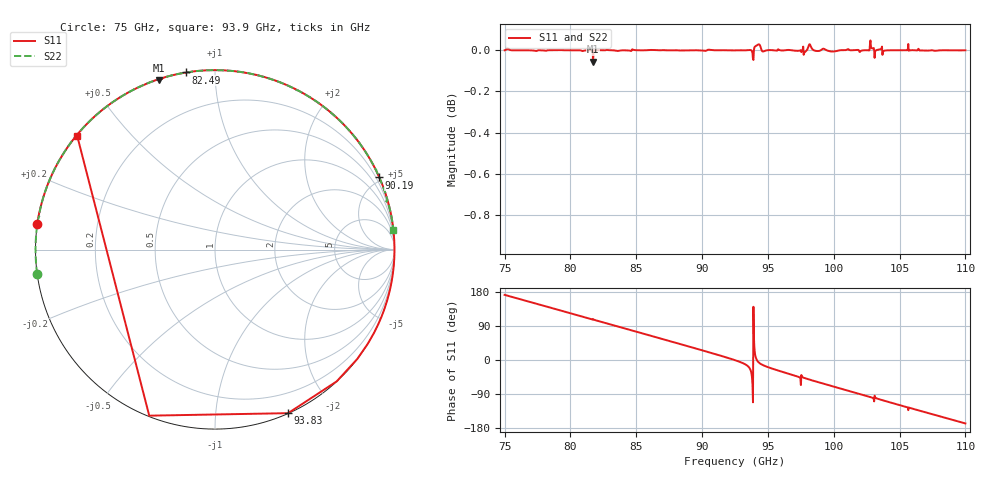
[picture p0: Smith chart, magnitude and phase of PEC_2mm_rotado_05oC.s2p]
! TOUCHSTONE file generated by CST MICROWAVE STUDIO
! Date and time: Wed Feb 14 15:11:36 2024
! Project name: metal_rotado.cst
! Parameters = {angY=0.5}
! Header version: 2018
! Port assignment regex: !\s*Touchstone port\s*([0-9]+)\s*=\s*(CST MWS port|CST DS port)\s*([0-9]+|Zmin|Zmax)\s*\(\"(.*)\"\)(\s*mode\s*([0-9]+))?.*
! Touchstone port assignment:
! Touchstone port 1 = CST MWS port 1 ("")
! Touchstone port 2 = CST MWS port 2 ("")
# GHz S MA R 376.7
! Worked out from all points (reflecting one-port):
!   1001 points, 75 GHz to 110 GHz, reference 376.7 ohm
!   lowest |S11| = -0.1 dB at 81.72 GHz (marker M1), VSWR 309.66, Z = 1.85 + j273 ohm
!   phase of S11 starts at 172 deg and turns -699 deg over the sweep
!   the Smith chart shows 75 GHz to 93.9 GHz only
!   S11 on the Smith chart (normalised r, x): 75 GHz: 0.00, +0.07; 82.49 GHz: -0.00, +0.85; 90.19 GHz: 0.00, +4.76; 93.83 GHz: 0.00, -1.54; 93.9 GHz: 0.00, +0.36
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75  1 171.9  0 0.0  0 0.0  1 -172.3
80.845  0.9998 115.2  3.396e-65 -179.9  3.396e-65 -179.9  1 132.3
81.72  0.9936 108.2  3.297e-65 -179.9  3.297e-65 -179.9  1 124.0
82.49  1 99.2  3.098e-65 -179.9  3.098e-65 -179.9  1 116.5
86.69  1 58.3  2.202e-65 -179.9  2.202e-65 -179.9  1 76.7
90.19  0.9997 23.7  1.603e-65 -179.9  1.603e-65 -179.9  1 43.1
92.5  1 -0.4  0 0.0  0 0.0  1 20.7
93.48  1 -16.3  9.017e-66 180.0  9.017e-66 180.0  1 10.8
93.69  1 -27.5  8.014e-66 180.0  8.014e-66 180.0  1 8.7
93.83  0.9982 -65.9  7.009e-66 180.0  7.009e-66 180.0  1 7.2
93.9  0.9946 140.5  0 0.0  0 0.0  1 6.3
94.075  1.002 7.0  6.011e-66 -180.0  6.011e-66 -180.0  0.9993 4.9
94.18  1.003 -1.3  6.012e-66 -180.0  6.012e-66 -180.0  1.001 3.7
95.37  1 -23.3  3.005e-66 180.0  3.005e-66 180.0  0.9999 -12.7
95.72  0.9999 -27.2  2.003e-66 179.9  2.003e-66 179.9  0.9989 -27.7
95.79  1.001 -28.0  2.003e-66 179.9  2.003e-66 179.9  0.998 -37.2
95.93  1 -29.5  9.999e-67 180.0  9.999e-67 180.0  0.9972 -175.7
96.14  0.9999 -31.7  1.002e-66 180.0  1.002e-66 180.0  1.001 7.0
96.56  1 -36.1  2.64e-82 180.0  2.64e-82 180.0  1 -10.3
98.345  1.001 -53.7  7.01e-66 -0.1  7.01e-66 -0.1  1 -32.4
104.19  1 -111.0  2.399e-65 -0.1  2.399e-65 -0.1  1 -89.2
110  1 -167.4  0 0.0  0 0.0  1 -144.1
